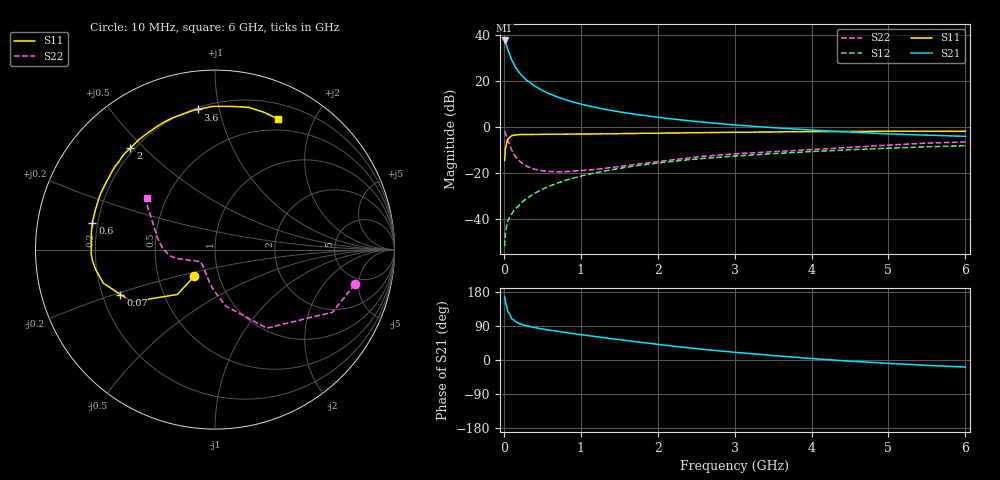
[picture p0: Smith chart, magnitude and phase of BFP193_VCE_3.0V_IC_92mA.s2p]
! Infineon Technologies  Discrete & RF Semiconductors
! BFP193
! VCE =  3.0 V,  IC =  92 mA
! Common Emitter S-Parameters:  Jan 2017
# GHz  S  MA  R  50
!  f  S11  S21  S12  S22
! GHz  MAG  ANG  MAG  ANG  MAG  ANG  MAG  ANG
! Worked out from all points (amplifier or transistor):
!   77 points, 10 MHz to 6 GHz, reference 50 ohm
!   highest |S21| = 37.6 dB at 10 MHz (marker M1)
!   |S21| within 3 dB of that: start of sweep to 41.8 MHz
!   unconditionally stable (mu >= 1): 267.8 MHz to 2.694 GHz
!   at 130 MHz: K = 0.82, MSG = 31.9 dB, |S12| = -36.4 dB
!   at 2.2 GHz: K = 1.03, MAG = 8.2 dB, |S12| = -14.9 dB
!   at 6 GHz: K = 0.97, MSG = 2.0 dB, |S12| = -8.1 dB
!   S11 on the Smith chart (normalised r, x): 10 MHz: 0.76, -0.23; 70 MHz: 0.28, -0.21; 600 MHz: 0.18, +0.10; 2 GHz: 0.18, +0.46; 3.6 GHz: 0.21, +0.86; 6 GHz: 0.36, +1.53
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0.01  0.1871 -127.7  75.83 166.0  0.0026 75.2  0.8025 -14.0
0.02  0.3265 -130.0  70.82 153.4  0.0049 74.5  0.7415 -28.1
0.05  0.5478 -147.9  48.83 127.8  0.0089 57.0  0.5244 -56.6
0.07  0.5833 -154.6  40.5 122.7  0.0105 58.7  0.436 -63.0
0.1  0.6495 -163.2  29.02 109.7  0.0129 60.5  0.3208 -79.0
0.15  0.6746 -170.6  20.1 101.5  0.0168 63.7  0.2305 -91.1
0.2  0.6856 -175.0  15.28 96.4  0.0201 66.8  0.1852 -99.7
0.25  0.6905 -178.3  12.3 92.7  0.0248 67.3  0.1579 -105.8
0.3  0.6893 179.2  10.3 90.1  0.0281 70.4  0.1401 -111.8
0.4  0.6929 175.0  7.785 85.5  0.0363 71.6  0.1214 -120.1
0.5  0.6963 171.2  6.237 81.9  0.0447 71.9  0.1131 -126.7
0.6  0.6989 167.9  5.222 78.5  0.053 71.2  0.1088 -132.5
0.8  0.7023 162.1  3.932 72.5  0.0701 71.4  0.1076 -139.1
1.1  0.7099 153.6  2.886 64.3  0.0947 68.3  0.117 -146.7
1.5  0.7204 142.8  2.142 53.8  0.1266 63.3  0.1387 -154.5
2  0.736 129.8  1.635 41.3  0.1659 56.8  0.1781 -161.4
2.1  0.7397 127.3  1.562 39.0  0.1729 55.4  0.1868 -163.1
3.1  0.7724 106.0  1.082 18.7  0.2404 42.0  0.2682 -176.2
3.6  0.7868 97.1  0.946 10.2  0.2706 36.1  0.2986 176.1
4.1  0.7981 89.3  0.845 2.4  0.2993 29.8  0.3318 167.0
5.1  0.8133 75.5  0.703 -9.9  0.3528 17.8  0.4141 151.1
6  0.8087 64.4  0.628 -18.7  0.3936 7.4  0.4744 142.9
